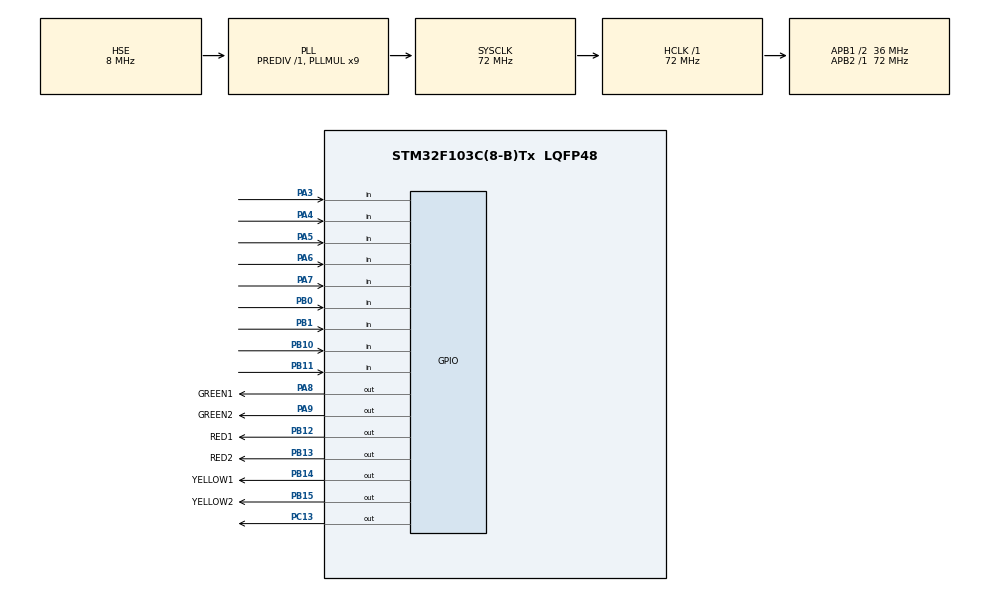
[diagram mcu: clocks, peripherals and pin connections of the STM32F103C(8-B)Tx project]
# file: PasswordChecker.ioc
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Mcu.Family=STM32F1
Mcu.Name=STM32F103C(8-B)Tx
Mcu.Package=LQFP48
NVIC.PriorityGroup=NVIC_PRIORITYGROUP_4
NVIC.TIM1_UP_IRQn=true\:0\:0\:false\:false\:true\:true\:true\:true
NVIC.TIM2_IRQn=true\:0\:0\:false\:false\:true\:true\:true\:true
PA13.Mode=Serial_Wire
PA13.Signal=SYS_JTMS-SWDIO
PA14.Mode=Serial_Wire
PA14.Signal=SYS_JTCK-SWCLK
PA3.Signal=GPIO_Input
PA4.Signal=GPIO_Input
PA5.Signal=GPIO_Input
PA6.Signal=GPIO_Input
PA7.Signal=GPIO_Input
PA8.GPIO_Label=GREEN1 
PA8.Signal=GPIO_Output
PA9.GPIO_Label=GREEN2 
PA9.Signal=GPIO_Output
PB0.Signal=GPIO_Input
PB1.Signal=GPIO_Input
PB10.Signal=GPIO_Input
PB11.Signal=GPIO_Input
PB12.GPIO_Label=RED1 
PB12.Signal=GPIO_Output
PB13.GPIO_Label=RED2 
PB13.Signal=GPIO_Output
PB14.GPIO_Label=YELLOW1 
PB14.Signal=GPIO_Output
PB15.GPIO_Label=YELLOW2 
PB15.Signal=GPIO_Output
PC13-TAMPER-RTC.Signal=GPIO_Output
PD0-OSC_IN.Mode=HSE-External-Oscillator
PD0-OSC_IN.Signal=RCC_OSC_IN
PD1-OSC_OUT.Mode=HSE-External-Oscillator
PD1-OSC_OUT.Signal=RCC_OSC_OUT
ProjectManager.HeapSize=0x200
ProjectManager.StackSize=0x400
ProjectManager.TargetToolchain=STM32CubeIDE
RCC.AHBFreq_Value=72000000
RCC.APB1CLKDivider=RCC_HCLK_DIV2
RCC.APB1Freq_Value=36000000
RCC.APB1TimFreq_Value=72000000
RCC.APB2Freq_Value=72000000
RCC.APB2TimFreq_Value=72000000
RCC.HCLKFreq_Value=72000000
RCC.PLLMUL=RCC_PLL_MUL9
RCC.PLLSourceVirtual=RCC_PLLSOURCE_HSE
RCC.SYSCLKFreq_VALUE=72000000
RCC.SYSCLKSource=RCC_SYSCLKSOURCE_PLLCLK
RCC.USBFreq_Value=72000000
TIM1.Period=1
TIM1.Prescaler=35999
TIM2.Period=1
TIM2.Prescaler=35999
VP_TIM1_VS_ClockSourceINT.Mode=Internal
VP_TIM2_VS_ClockSourceINT.Mode=Internal
board=custom

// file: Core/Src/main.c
/* USER CODE BEGIN Header */
/**
  ******************************************************************************
  * @file           : main.c
  * @brief          : Main program body
  ******************************************************************************
  * @attention
  *
  * Copyright (c) 2023 STMicroelectronics.
  * All rights reserved.
  *
  * This software is licensed under terms that can be found in the LICENSE file
  * in the root directory of this software component.
  * If no LICENSE file comes with this software, it is provided AS-IS.
  *
  ******************************************************************************
  */
/* USER CODE END Header */
#include "main.h"

TIM_HandleTypeDef htim1;
TIM_HandleTypeDef htim2;

void SystemClock_Config(void);
static void MX_GPIO_Init(void);
static void MX_TIM1_Init(void);
static void MX_TIM2_Init(void);
/* USER CODE BEGIN PFP */
void Timer1_Interrupt();
void Timer2_Interrupt();
/* USER CODE END PFP */

/* USER CODE BEGIN 0 */

uint32_t timerCount = 0;
uint16_t timer2Count = 0;

unsigned char timer1Flag = 0;

unsigned char blinkFlag = 0;

// step change timer
void Timer1_Interrupt()
{
	if (timerCount == 200)
	{
		timer1Flag = 1;
		timerCount = 0;
	}
	++timerCount;
}

// led blink timer
void Timer2_Interrupt()
{
	if (timer2Count == 500)
	{
		blinkFlag = 1;
		timer2Count = 0;
	}
	++timer2Count;
}

void Blink(GPIO_TypeDef *GPIOx, uint16_t GPIO_Pin, uint8_t times)
{
	uint8_t count = 0;

	while(count != times)
	{
		if (blinkFlag == 1)
		{
			HAL_GPIO_TogglePin(GPIOx, GPIO_Pin);
			blinkFlag = 0;
			++count;
		}
	}
}

struct Button buttons[9] = {	{GPIOA, GPIO_PIN_3},
								{GPIOA, GPIO_PIN_4},
								{GPIOA, GPIO_PIN_5},
								{GPIOA, GPIO_PIN_6},
								{GPIOA, GPIO_PIN_7},
								{GPIOB, GPIO_PIN_0},
								{GPIOB, GPIO_PIN_1},
								{GPIOB, GPIO_PIN_10},
								{GPIOB, GPIO_PIN_11}
								};

 uint8_t pressedBtn[4] = {0,0,0,0};

 uint8_t rightSequenceBtn[4] = {1,2,3,4};

uint16_t ReadButtons(struct Button* buttons)
{
	for (uint8_t i = 0; i<9; ++i)
	{
		if (HAL_GPIO_ReadPin(buttons[i].GPIOx, buttons[i].GPIO_Pin) == 0)
		{
			return i+1;
			break;
		}
	}
	return 0;
}
/* USER CODE END 0 */

int main(void)
{
  /* USER CODE BEGIN 1 */
	for(int i=0; i<255; i++)
	{
		for(int j=0; j<50; j++)
		{
			  asm ("nop""\n\tnop""\n\tnop""\n\tnop""\n\tnop""\n\tnop");
			  asm ("nop""\n\tnop""\n\tnop""\n\tnop""\n\tnop""\n\tnop");
			  asm ("nop""\n\tnop""\n\tnop""\n\tnop""\n\tnop""\n\tnop");
			  asm ("nop""\n\tnop""\n\tnop""\n\tnop""\n\tnop""\n\tnop");
			  asm ("nop""\n\tnop""\n\tnop""\n\tnop""\n\tnop""\n\tnop");
			  asm ("nop""\n\tnop""\n\tnop""\n\tnop""\n\tnop""\n\tnop");
		}
	}
  /* USER CODE END 1 */

  /* MCU Configuration--------------------------------------------------------*/

  /* Reset of all peripherals, Initializes the Flash interface and the Systick. */
  HAL_Init();

  /* Configure the system clock */
  SystemClock_Config();

  /* Initialize all configured peripherals */
  MX_GPIO_Init();
  MX_TIM1_Init();
  MX_TIM2_Init();
  /* USER CODE BEGIN 2 */
  HAL_TIM_Base_Start_IT(&htim1);
  HAL_TIM_Base_Start_IT(&htim2);
  /* USER CODE END 2 */

  /* Infinite loop */
  /* USER CODE BEGIN WHILE */
  uint8_t prevNumb = 0;
  uint8_t i = 0;
  uint8_t count = 4;
  uint8_t result = 1;

  while (1)
  {
	if (timer1Flag == 1)
	{
		uint8_t readBtn = ReadButtons(buttons);
		if (readBtn == prevNumb && readBtn != 0)
		{
			// the next two lines to indicate the pressed button
			HAL_GPIO_WritePin(GPIOC, GPIO_PIN_13, GPIO_PIN_RESET);
			HAL_Delay(100);

			pressedBtn[i] = readBtn;
			prevNumb = 255;
			++i;
			// array of pressed buttons is full
			if (i == count)
			{
				i = 0;
				for (uint8_t j = 0; j<4; ++j)
				{
					// compare sequences character by character & clear the pressedBtn array
					if (pressedBtn[j] != rightSequenceBtn[j])
					{
						result = 0;
					}
					pressedBtn[j] = 0;
				}
				// wrong sequence
				if (result == 0) Blink(GPIOC, GPIO_PIN_13,10);
				// right sequence
				else
				{
					HAL_GPIO_WritePin(GPIOC, GPIO_PIN_13, GPIO_PIN_RESET);
					HAL_Delay(3000);
				}
				result = 1;
			}
		}
		else
		{
			prevNumb = readBtn;
		}
		timer1Flag = 0;
		HAL_GPIO_WritePin(GPIOC, GPIO_PIN_13, GPIO_PIN_SET);
	}
    /* USER CODE END WHILE */

  }
}

void SystemClock_Config(void)
{
  RCC_OscInitTypeDef RCC_OscInitStruct = {0};
  RCC_ClkInitTypeDef RCC_ClkInitStruct = {0};

  /** Initializes the RCC Oscillators according to the specified parameters
  * in the RCC_OscInitTypeDef structure.
  */
  RCC_OscInitStruct.OscillatorType = RCC_OSCILLATORTYPE_HSE;
  RCC_OscInitStruct.HSEState = RCC_HSE_ON;
  RCC_OscInitStruct.HSEPredivValue = RCC_HSE_PREDIV_DIV1;
  RCC_OscInitStruct.HSIState = RCC_HSI_ON;
  RCC_OscInitStruct.PLL.PLLState = RCC_PLL_ON;
  RCC_OscInitStruct.PLL.PLLSource = RCC_PLLSOURCE_HSE;
  RCC_OscInitStruct.PLL.PLLMUL = RCC_PLL_MUL9;
  if (HAL_RCC_OscConfig(&RCC_OscInitStruct) != HAL_OK)
  {
    Error_Handler();
  }

  /** Initializes the CPU, AHB and APB buses clocks
  */
  RCC_ClkInitStruct.ClockType = RCC_CLOCKTYPE_HCLK|RCC_CLOCKTYPE_SYSCLK
                              |RCC_CLOCKTYPE_PCLK1|RCC_CLOCKTYPE_PCLK2;
  RCC_ClkInitStruct.SYSCLKSource = RCC_SYSCLKSOURCE_PLLCLK;
  RCC_ClkInitStruct.AHBCLKDivider = RCC_SYSCLK_DIV1;
  RCC_ClkInitStruct.APB1CLKDivider = RCC_HCLK_DIV2;
  RCC_ClkInitStruct.APB2CLKDivider = RCC_HCLK_DIV1;

  if (HAL_RCC_ClockConfig(&RCC_ClkInitStruct, FLASH_LATENCY_2) != HAL_OK)
  {
    Error_Handler();
  }
}

static void MX_TIM1_Init(void)
{

  TIM_ClockConfigTypeDef sClockSourceConfig = {0};
  TIM_MasterConfigTypeDef sMasterConfig = {0};

  htim1.Instance = TIM1;
  htim1.Init.Prescaler = 35999;
  htim1.Init.CounterMode = TIM_COUNTERMODE_UP;
  htim1.Init.Period = 1;
  htim1.Init.ClockDivision = TIM_CLOCKDIVISION_DIV1;
  htim1.Init.RepetitionCounter = 0;
  htim1.Init.AutoReloadPreload = TIM_AUTORELOAD_PRELOAD_DISABLE;
  if (HAL_TIM_Base_Init(&htim1) != HAL_OK)
  {
    Error_Handler();
  }
  sClockSourceConfig.ClockSource = TIM_CLOCKSOURCE_INTERNAL;
  if (HAL_TIM_ConfigClockSource(&htim1, &sClockSourceConfig) != HAL_OK)
  {
    Error_Handler();
  }
  sMasterConfig.MasterOutputTrigger = TIM_TRGO_RESET;
  sMasterConfig.MasterSlaveMode = TIM_MASTERSLAVEMODE_DISABLE;
  if (HAL_TIMEx_MasterConfigSynchronization(&htim1, &sMasterConfig) != HAL_OK)
  {
    Error_Handler();
  }

}

static void MX_TIM2_Init(void)
{

  TIM_ClockConfigTypeDef sClockSourceConfig = {0};
  TIM_MasterConfigTypeDef sMasterConfig = {0};

  htim2.Instance = TIM2;
  htim2.Init.Prescaler = 35999;
  htim2.Init.CounterMode = TIM_COUNTERMODE_UP;
  htim2.Init.Period = 1;
  htim2.Init.ClockDivision = TIM_CLOCKDIVISION_DIV1;
  htim2.Init.AutoReloadPreload = TIM_AUTORELOAD_PRELOAD_DISABLE;
  if (HAL_TIM_Base_Init(&htim2) != HAL_OK)
  {
    Error_Handler();
  }
  sClockSourceConfig.ClockSource = TIM_CLOCKSOURCE_INTERNAL;
  if (HAL_TIM_ConfigClockSource(&htim2, &sClockSourceConfig) != HAL_OK)
  {
    Error_Handler();
  }
  sMasterConfig.MasterOutputTrigger = TIM_TRGO_RESET;
  sMasterConfig.MasterSlaveMode = TIM_MASTERSLAVEMODE_DISABLE;
  if (HAL_TIMEx_MasterConfigSynchronization(&htim2, &sMasterConfig) != HAL_OK)
  {
    Error_Handler();
  }

}

static void MX_GPIO_Init(void)
{
  GPIO_InitTypeDef GPIO_InitStruct = {0};

  /* GPIO Ports Clock Enable */
  __HAL_RCC_GPIOC_CLK_ENABLE();
  __HAL_RCC_GPIOD_CLK_ENABLE();
  __HAL_RCC_GPIOA_CLK_ENABLE();
  __HAL_RCC_GPIOB_CLK_ENABLE();

  /*Configure GPIO pin Output Level */
  HAL_GPIO_WritePin(GPIOC, GPIO_PIN_13, GPIO_PIN_RESET);

  /*Configure GPIO pin Output Level */
  HAL_GPIO_WritePin(GPIOB, RED1_Pin|RED2_Pin|YELLOW1_Pin|YELLOW2_Pin, GPIO_PIN_RESET);

  /*Configure GPIO pin Output Level */
  HAL_GPIO_WritePin(GPIOA, GREEN1_Pin|GREEN2_Pin, GPIO_PIN_RESET);

  /*Configure GPIO pin : PC13 */
  GPIO_InitStruct.Pin = GPIO_PIN_13;
  GPIO_InitStruct.Mode = GPIO_MODE_OUTPUT_PP;
  GPIO_InitStruct.Pull = GPIO_NOPULL;
  GPIO_InitStruct.Speed = GPIO_SPEED_FREQ_LOW;
  HAL_GPIO_Init(GPIOC, &GPIO_InitStruct);

  /*Configure GPIO pins : PA3 PA4 PA5 PA6
                           PA7 */
  GPIO_InitStruct.Pin = GPIO_PIN_3|GPIO_PIN_4|GPIO_PIN_5|GPIO_PIN_6
                          |GPIO_PIN_7;
  GPIO_InitStruct.Mode = GPIO_MODE_INPUT;
  GPIO_InitStruct.Pull = GPIO_NOPULL;
  HAL_GPIO_Init(GPIOA, &GPIO_InitStruct);

  /*Configure GPIO pins : PB0 PB1 PB10 PB11 */
  GPIO_InitStruct.Pin = GPIO_PIN_0|GPIO_PIN_1|GPIO_PIN_10|GPIO_PIN_11;
  GPIO_InitStruct.Mode = GPIO_MODE_INPUT;
  GPIO_InitStruct.Pull = GPIO_NOPULL;
  HAL_GPIO_Init(GPIOB, &GPIO_InitStruct);

  /*Configure GPIO pins : RED1_Pin RED2_Pin YELLOW1_Pin YELLOW2_Pin */
  GPIO_InitStruct.Pin = RED1_Pin|RED2_Pin|YELLOW1_Pin|YELLOW2_Pin;
  GPIO_InitStruct.Mode = GPIO_MODE_OUTPUT_PP;
  GPIO_InitStruct.Pull = GPIO_NOPULL;
  GPIO_InitStruct.Speed = GPIO_SPEED_FREQ_LOW;
  HAL_GPIO_Init(GPIOB, &GPIO_InitStruct);

  /*Configure GPIO pins : GREEN1_Pin GREEN2_Pin */
  GPIO_InitStruct.Pin = GREEN1_Pin|GREEN2_Pin;
  GPIO_InitStruct.Mode = GPIO_MODE_OUTPUT_PP;
  GPIO_InitStruct.Pull = GPIO_NOPULL;
  GPIO_InitStruct.Speed = GPIO_SPEED_FREQ_LOW;
  HAL_GPIO_Init(GPIOA, &GPIO_InitStruct);

}

void Error_Handler(void)
{
  while(1)
  {
  }
}
